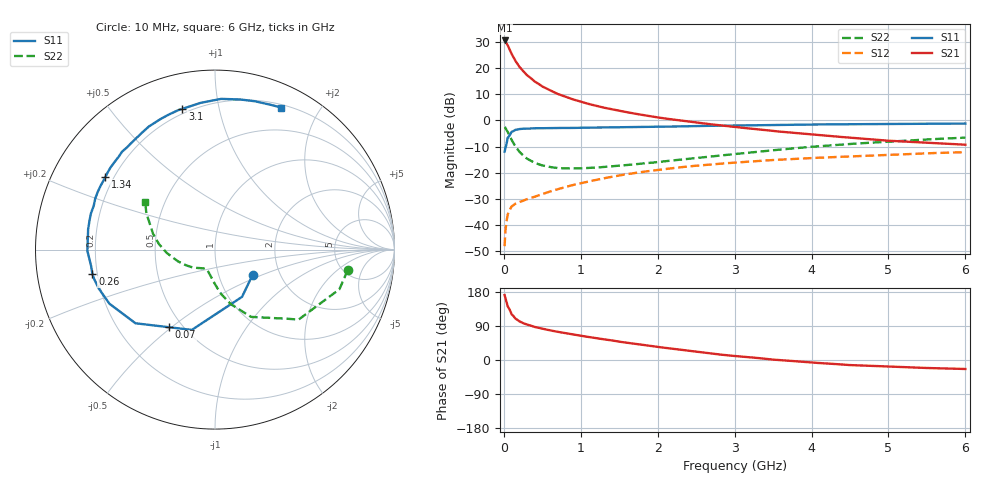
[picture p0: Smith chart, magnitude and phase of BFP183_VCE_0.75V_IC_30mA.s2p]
! Infineon Technologies  Discrete & RF Semiconductors
! BFP183
! VCE = 0.75V,  IC =  30 mA
! Common Emitter S-Parameters:  Jan 2016
# GHz  S  MA  R  50
!  f  S11  S21  S12  S22
! GHz  MAG  ANG  MAG  ANG  MAG  ANG  MAG  ANG
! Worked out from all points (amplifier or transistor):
!   210 points, 10 MHz to 6 GHz, reference 50 ohm
!   highest |S21| = 30.7 dB at 10 MHz (marker M1)
!   |S21| within 3 dB of that: start of sweep to 68.36 MHz
!   unconditionally stable (mu >= 1): start of sweep to 16.79 MHz; 263.3 MHz to end of sweep
!   at 185 MHz: K = 0.79, MSG = 26.4 dB, |S12| = -31.5 dB
!   at 1.52 GHz: K = 1.70, MAG = 7.4 dB, |S12| = -21.0 dB
!   at 6 GHz: K = 1.42, MAG = -2.4 dB, |S12| = -12.2 dB
!   S11 on the Smith chart (normalised r, x): 10 MHz: 1.46, -0.43; 70 MHz: 0.42, -0.49; 260 MHz: 0.18, -0.09; 1.34 GHz: 0.17, +0.29; 3.1 GHz: 0.17, +0.78; 6 GHz: 0.23, +1.54
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0.01  0.2523 -33.6  34.12 171.3  0.0039 72.3  0.7483 -8.8
0.02  0.3033 -60.2  33.22 163.0  0.0075 69.1  0.7274 -17.7
0.05  0.4657 -106.1  27.69 141.5  0.0158 58.1  0.6078 -39.8
0.07  0.5021 -120.5  23.85 135.1  0.0183 51.0  0.5263 -46.8
0.1  0.6041 -137.2  18.95 120.8  0.0224 43.4  0.4253 -61.8
0.15  0.6607 -152.8  13.87 109.3  0.0253 39.4  0.3171 -73.8
0.2  0.6832 -161.5  10.79 102.3  0.0273 39.4  0.2535 -81.6
0.24  0.6936 -166.6  9.186 98.4  0.0286 39.8  0.2213 -85.6
0.26  0.6965 -168.8  8.51 96.5  0.0293 40.4  0.2078 -87.6
0.3  0.6962 -172.4  7.39 93.4  0.031 42.1  0.186 -91.2
0.4  0.711 -179.4  5.594 87.2  0.0344 45.0  0.1541 -98.0
0.5  0.7104 175.7  4.485 82.5  0.0388 47.0  0.1374 -103.4
0.6  0.7159 171.0  3.782 78.1  0.0438 49.4  0.128 -107.3
0.7  0.7177 167.3  3.223 74.3  0.048 52.0  0.1226 -110.7
0.8  0.72 163.6  2.837 70.7  0.0529 52.7  0.1204 -113.7
1.02  0.7257 156.3  2.238 63.4  0.0636 53.7  0.1213 -119.8
1.34  0.7325 146.5  1.713 53.5  0.08 53.2  0.1297 -127.0
2.02  0.7554 128.0  1.132 34.0  0.1139 48.1  0.1606 -142.0
3.1  0.8049 103.1  0.725 8.9  0.1593 36.7  0.2346 -168.2
4.1  0.8409 86.3  0.523 -8.0  0.1934 26.0  0.3209 172.6
5.1  0.8569 73.8  0.402 -17.9  0.2217 17.0  0.4005 156.7
6  0.8727 65.1  0.343 -23.7  0.2466 7.6  0.4689 145.9
